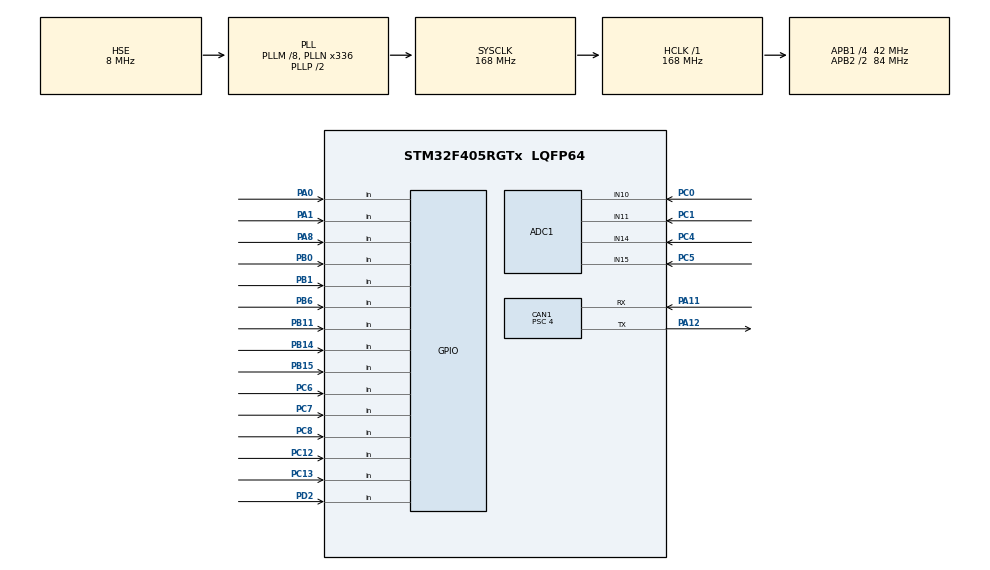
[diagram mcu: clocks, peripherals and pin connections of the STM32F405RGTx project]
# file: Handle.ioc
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ADC1.Channel-2\#ChannelRegularConversion=ADC_CHANNEL_10
ADC1.Channel-3\#ChannelRegularConversion=ADC_CHANNEL_11
ADC1.Channel-4\#ChannelRegularConversion=ADC_CHANNEL_14
ADC1.Channel-5\#ChannelRegularConversion=ADC_CHANNEL_15
ADC1.ContinuousConvMode=ENABLE
ADC1.DMAContinuousRequests=ENABLE
ADC1.DiscontinuousConvMode=DISABLE
ADC1.NbrOfConversion=4
ADC1.NbrOfConversionFlag=1
ADC1.Rank-2\#ChannelRegularConversion=1
ADC1.Rank-3\#ChannelRegularConversion=2
ADC1.Rank-4\#ChannelRegularConversion=3
ADC1.Rank-5\#ChannelRegularConversion=4
ADC1.SamplingTime-2\#ChannelRegularConversion=ADC_SAMPLETIME_3CYCLES
ADC1.SamplingTime-3\#ChannelRegularConversion=ADC_SAMPLETIME_3CYCLES
ADC1.SamplingTime-4\#ChannelRegularConversion=ADC_SAMPLETIME_3CYCLES
ADC1.SamplingTime-5\#ChannelRegularConversion=ADC_SAMPLETIME_3CYCLES
ADC1.ScanConvMode=ENABLE
ADC1.master=1
CAN1.BS1=CAN_BS1_14TQ
CAN1.BS2=CAN_BS2_6TQ
CAN1.CalculateBaudRate=500000
CAN1.CalculateTimeBit=2000
CAN1.CalculateTimeQuantum=95.23809523809524
CAN1.Prescaler=4
Dma.ADC1.0.Direction=DMA_PERIPH_TO_MEMORY
Dma.ADC1.0.FIFOMode=DMA_FIFOMODE_DISABLE
Dma.ADC1.0.Instance=DMA2_Stream0
Dma.ADC1.0.MemDataAlignment=DMA_MDATAALIGN_HALFWORD
Dma.ADC1.0.MemInc=DMA_MINC_ENABLE
Dma.ADC1.0.Mode=DMA_CIRCULAR
Dma.ADC1.0.PeriphDataAlignment=DMA_PDATAALIGN_HALFWORD
Dma.ADC1.0.PeriphInc=DMA_PINC_DISABLE
Dma.ADC1.0.Priority=DMA_PRIORITY_LOW
Dma.Request0=ADC1
Mcu.Family=STM32F4
Mcu.Name=STM32F405RGTx
Mcu.Package=LQFP64
NVIC.CAN1_RX0_IRQn=true\:0\:0\:false\:false\:true\:true\:true\:true
NVIC.DMA2_Stream0_IRQn=true\:0\:0\:false\:false\:true\:false\:true\:true
NVIC.PriorityGroup=NVIC_PRIORITYGROUP_4
PA0-WKUP.GPIO_PuPd=GPIO_PULLUP
PA0-WKUP.Signal=GPIO_Input
PA1.GPIO_PuPd=GPIO_PULLUP
PA1.Signal=GPIO_Input
PA11.GPIO_PuPd=GPIO_PULLUP
PA11.Mode=CAN_Activate
PA11.Signal=CAN1_RX
PA12.GPIO_PuPd=GPIO_PULLUP
PA12.Mode=CAN_Activate
PA12.Signal=CAN1_TX
PA13.Mode=Serial_Wire
PA13.Signal=SYS_JTMS-SWDIO
PA14.Mode=Serial_Wire
PA14.Signal=SYS_JTCK-SWCLK
PA8.GPIO_PuPd=GPIO_PULLUP
PA8.Signal=GPIO_Input
PB0.GPIO_PuPd=GPIO_PULLUP
PB0.Signal=GPIO_Input
PB1.GPIO_PuPd=GPIO_PULLUP
PB1.Signal=GPIO_Input
PB11.GPIO_PuPd=GPIO_PULLUP
PB11.Signal=GPIO_Input
PB14.GPIO_PuPd=GPIO_PULLUP
PB14.Signal=GPIO_Input
PB15.GPIO_PuPd=GPIO_PULLUP
PB15.Signal=GPIO_Input
PB6.GPIO_PuPd=GPIO_PULLUP
PB6.Signal=GPIO_Input
PC0.Signal=ADCx_IN10
PC1.Signal=ADCx_IN11
PC12.GPIO_PuPd=GPIO_PULLUP
PC12.Signal=GPIO_Input
PC13-ANTI_TAMP.GPIO_PuPd=GPIO_PULLUP
PC13-ANTI_TAMP.Signal=GPIO_Input
PC4.Signal=SharedAnalog_PC4
PC5.Signal=SharedAnalog_PC5
PC6.GPIO_PuPd=GPIO_PULLUP
PC6.Signal=GPIO_Input
PC7.GPIO_PuPd=GPIO_PULLUP
PC7.Signal=GPIO_Input
PC8.GPIO_PuPd=GPIO_PULLUP
PC8.Signal=GPIO_Input
PD2.GPIO_PuPd=GPIO_PULLUP
PD2.Signal=GPIO_Input
PH0-OSC_IN.Mode=HSE-External-Oscillator
PH0-OSC_IN.Signal=RCC_OSC_IN
PH1-OSC_OUT.Mode=HSE-External-Oscillator
PH1-OSC_OUT.Signal=RCC_OSC_OUT
ProjectManager.HeapSize=0x200
ProjectManager.StackSize=0x400
ProjectManager.TargetToolchain=MDK-ARM V5.32
RCC.48MHZClocksFreq_Value=84000000
RCC.AHBFreq_Value=168000000
RCC.APB1CLKDivider=RCC_HCLK_DIV4
RCC.APB1Freq_Value=42000000
RCC.APB1TimFreq_Value=84000000
RCC.APB2CLKDivider=RCC_HCLK_DIV2
RCC.APB2Freq_Value=84000000
RCC.APB2TimFreq_Value=168000000
RCC.CortexFreq_Value=168000000
RCC.HCLKFreq_Value=168000000
RCC.HSE_VALUE=8000000
RCC.HSI_VALUE=16000000
RCC.LSE_VALUE=32768
RCC.PLLM=8
RCC.PLLN=336
RCC.PLLSourceVirtual=RCC_PLLSOURCE_HSE
RCC.SYSCLKFreq_VALUE=168000000
RCC.SYSCLKSource=RCC_SYSCLKSOURCE_PLLCLK
RCC.VCOOutputFreq_Value=336000000
SH.ADCx_IN10.0=ADC1_IN10,IN10
SH.ADCx_IN11.0=ADC1_IN11,IN11
SH.SharedAnalog_PC4.0=GPIO_Analog
SH.SharedAnalog_PC4.1=ADC1_IN14,IN14
SH.SharedAnalog_PC5.0=GPIO_Analog
SH.SharedAnalog_PC5.1=ADC1_IN15,IN15
board=custom

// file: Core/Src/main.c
/* USER CODE BEGIN Header */
/**
  ******************************************************************************
  * @file           : main.c
  * @brief          : Main program body
  ******************************************************************************
  * @attention
  *
  * Copyright (c) 2022 STMicroelectronics.
  * All rights reserved.
  *
  * This software is licensed under terms that can be found in the LICENSE file
  * in the root directory of this software component.
  * If no LICENSE file comes with this software, it is provided AS-IS.
  *
  ******************************************************************************
  */
/* USER CODE END Header */
#include "main.h"

ADC_HandleTypeDef hadc1;
DMA_HandleTypeDef hdma_adc1;

CAN_HandleTypeDef hcan1;

/* USER CODE BEGIN PV */
// button
uint8_t botton_LU, botton_LD, botton_LL, botton_LR;
uint8_t botton_RU, botton_RD, botton_RL, botton_RR;
uint8_t botton_top_LT, botton_top_LB, botton_top_RT, botton_top_RB;
uint8_t botton_A, botton_B, botton_center;
// rocker 0-1700-3400
// rocker[0] right-Y
// rocker[1] right-X
// rocker[2] left-Y
// rocker[3] left-X
uint16_t rocker_raw[16];
uint16_t rocker[4];
/* USER CODE END PV */

void SystemClock_Config(void);
static void MX_GPIO_Init(void);
static void MX_DMA_Init(void);
static void MX_ADC1_Init(void);
static void MX_CAN1_Init(void);
/* USER CODE BEGIN PFP */
void getBottonValue(void);
void getRockerValue(void);
void sendMsg(void);
/* USER CODE END PFP */

int main(void)
{

  /* MCU Configuration--------------------------------------------------------*/

  /* Reset of all peripherals, Initializes the Flash interface and the Systick. */
  HAL_Init();

  /* Configure the system clock */
  SystemClock_Config();

  /* Initialize all configured peripherals */
  MX_GPIO_Init();
  MX_DMA_Init();
  MX_ADC1_Init();
  MX_CAN1_Init();
  /* USER CODE BEGIN 2 */
	HAL_CAN_Start(&hcan1);
  /* USER CODE END 2 */

  /* Infinite loop */
  /* USER CODE BEGIN WHILE */
  while (1)
  {
		getRockerValue();
		getBottonValue();
		sendMsg();
		HAL_Delay(50);
    /* USER CODE END WHILE */

  }
}

void SystemClock_Config(void)
{
  RCC_OscInitTypeDef RCC_OscInitStruct = {0};
  RCC_ClkInitTypeDef RCC_ClkInitStruct = {0};

  /** Configure the main internal regulator output voltage
  */
  __HAL_RCC_PWR_CLK_ENABLE();
  __HAL_PWR_VOLTAGESCALING_CONFIG(PWR_REGULATOR_VOLTAGE_SCALE1);

  /** Initializes the RCC Oscillators according to the specified parameters
  * in the RCC_OscInitTypeDef structure.
  */
  RCC_OscInitStruct.OscillatorType = RCC_OSCILLATORTYPE_HSE;
  RCC_OscInitStruct.HSEState = RCC_HSE_ON;
  RCC_OscInitStruct.PLL.PLLState = RCC_PLL_ON;
  RCC_OscInitStruct.PLL.PLLSource = RCC_PLLSOURCE_HSE;
  RCC_OscInitStruct.PLL.PLLM = 8;
  RCC_OscInitStruct.PLL.PLLN = 336;
  RCC_OscInitStruct.PLL.PLLP = RCC_PLLP_DIV2;
  RCC_OscInitStruct.PLL.PLLQ = 4;
  if (HAL_RCC_OscConfig(&RCC_OscInitStruct) != HAL_OK)
  {
    Error_Handler();
  }

  /** Initializes the CPU, AHB and APB buses clocks
  */
  RCC_ClkInitStruct.ClockType = RCC_CLOCKTYPE_HCLK|RCC_CLOCKTYPE_SYSCLK
                              |RCC_CLOCKTYPE_PCLK1|RCC_CLOCKTYPE_PCLK2;
  RCC_ClkInitStruct.SYSCLKSource = RCC_SYSCLKSOURCE_PLLCLK;
  RCC_ClkInitStruct.AHBCLKDivider = RCC_SYSCLK_DIV1;
  RCC_ClkInitStruct.APB1CLKDivider = RCC_HCLK_DIV4;
  RCC_ClkInitStruct.APB2CLKDivider = RCC_HCLK_DIV2;

  if (HAL_RCC_ClockConfig(&RCC_ClkInitStruct, FLASH_LATENCY_5) != HAL_OK)
  {
    Error_Handler();
  }
}

static void MX_ADC1_Init(void)
{

  ADC_ChannelConfTypeDef sConfig = {0};

  /** Configure the global features of the ADC (Clock, Resolution, Data Alignment and number of conversion)
  */
  hadc1.Instance = ADC1;
  hadc1.Init.ClockPrescaler = ADC_CLOCK_SYNC_PCLK_DIV4;
  hadc1.Init.Resolution = ADC_RESOLUTION_12B;
  hadc1.Init.ScanConvMode = ENABLE;
  hadc1.Init.ContinuousConvMode = ENABLE;
  hadc1.Init.DiscontinuousConvMode = DISABLE;
  hadc1.Init.ExternalTrigConvEdge = ADC_EXTERNALTRIGCONVEDGE_NONE;
  hadc1.Init.ExternalTrigConv = ADC_SOFTWARE_START;
  hadc1.Init.DataAlign = ADC_DATAALIGN_RIGHT;
  hadc1.Init.NbrOfConversion = 4;
  hadc1.Init.DMAContinuousRequests = ENABLE;
  hadc1.Init.EOCSelection = ADC_EOC_SINGLE_CONV;
  if (HAL_ADC_Init(&hadc1) != HAL_OK)
  {
    Error_Handler();
  }

  /** Configure for the selected ADC regular channel its corresponding rank in the sequencer and its sample time.
  */
  sConfig.Channel = ADC_CHANNEL_10;
  sConfig.Rank = 1;
  sConfig.SamplingTime = ADC_SAMPLETIME_3CYCLES;
  if (HAL_ADC_ConfigChannel(&hadc1, &sConfig) != HAL_OK)
  {
    Error_Handler();
  }

  /** Configure for the selected ADC regular channel its corresponding rank in the sequencer and its sample time.
  */
  sConfig.Channel = ADC_CHANNEL_11;
  sConfig.Rank = 2;
  if (HAL_ADC_ConfigChannel(&hadc1, &sConfig) != HAL_OK)
  {
    Error_Handler();
  }

  /** Configure for the selected ADC regular channel its corresponding rank in the sequencer and its sample time.
  */
  sConfig.Channel = ADC_CHANNEL_14;
  sConfig.Rank = 3;
  if (HAL_ADC_ConfigChannel(&hadc1, &sConfig) != HAL_OK)
  {
    Error_Handler();
  }

  /** Configure for the selected ADC regular channel its corresponding rank in the sequencer and its sample time.
  */
  sConfig.Channel = ADC_CHANNEL_15;
  sConfig.Rank = 4;
  if (HAL_ADC_ConfigChannel(&hadc1, &sConfig) != HAL_OK)
  {
    Error_Handler();
  }
  /* USER CODE BEGIN ADC1_Init 2 */
	HAL_ADC_Start_DMA(&hadc1, (uint32_t *)rocker_raw, 16);
  /* USER CODE END ADC1_Init 2 */

}

static void MX_CAN1_Init(void)
{

  hcan1.Instance = CAN1;
  hcan1.Init.Prescaler = 4;
  hcan1.Init.Mode = CAN_MODE_NORMAL;
  hcan1.Init.SyncJumpWidth = CAN_SJW_1TQ;
  hcan1.Init.TimeSeg1 = CAN_BS1_14TQ;
  hcan1.Init.TimeSeg2 = CAN_BS2_6TQ;
  hcan1.Init.TimeTriggeredMode = DISABLE;
  hcan1.Init.AutoBusOff = DISABLE;
  hcan1.Init.AutoWakeUp = DISABLE;
  hcan1.Init.AutoRetransmission = DISABLE;
  hcan1.Init.ReceiveFifoLocked = DISABLE;
  hcan1.Init.TransmitFifoPriority = DISABLE;
  if (HAL_CAN_Init(&hcan1) != HAL_OK)
  {
    Error_Handler();
  }

}

static void MX_DMA_Init(void)
{

  /* DMA controller clock enable */
  __HAL_RCC_DMA2_CLK_ENABLE();

  /* DMA interrupt init */
  /* DMA2_Stream0_IRQn interrupt configuration */
  HAL_NVIC_SetPriority(DMA2_Stream0_IRQn, 0, 0);
  HAL_NVIC_EnableIRQ(DMA2_Stream0_IRQn);

}

static void MX_GPIO_Init(void)
{
  GPIO_InitTypeDef GPIO_InitStruct = {0};

  /* GPIO Ports Clock Enable */
  __HAL_RCC_GPIOC_CLK_ENABLE();
  __HAL_RCC_GPIOH_CLK_ENABLE();
  __HAL_RCC_GPIOA_CLK_ENABLE();
  __HAL_RCC_GPIOB_CLK_ENABLE();
  __HAL_RCC_GPIOD_CLK_ENABLE();

  /*Configure GPIO pins : PC13 PC6 PC7 PC8
                           PC12 */
  GPIO_InitStruct.Pin = GPIO_PIN_13|GPIO_PIN_6|GPIO_PIN_7|GPIO_PIN_8
                          |GPIO_PIN_12;
  GPIO_InitStruct.Mode = GPIO_MODE_INPUT;
  GPIO_InitStruct.Pull = GPIO_PULLUP;
  HAL_GPIO_Init(GPIOC, &GPIO_InitStruct);

  /*Configure GPIO pins : PA0 PA1 PA8 */
  GPIO_InitStruct.Pin = GPIO_PIN_0|GPIO_PIN_1|GPIO_PIN_8;
  GPIO_InitStruct.Mode = GPIO_MODE_INPUT;
  GPIO_InitStruct.Pull = GPIO_PULLUP;
  HAL_GPIO_Init(GPIOA, &GPIO_InitStruct);

  /*Configure GPIO pins : PB0 PB1 PB11 PB14
                           PB15 PB6 */
  GPIO_InitStruct.Pin = GPIO_PIN_0|GPIO_PIN_1|GPIO_PIN_11|GPIO_PIN_14
                          |GPIO_PIN_15|GPIO_PIN_6;
  GPIO_InitStruct.Mode = GPIO_MODE_INPUT;
  GPIO_InitStruct.Pull = GPIO_PULLUP;
  HAL_GPIO_Init(GPIOB, &GPIO_InitStruct);

  /*Configure GPIO pin : PD2 */
  GPIO_InitStruct.Pin = GPIO_PIN_2;
  GPIO_InitStruct.Mode = GPIO_MODE_INPUT;
  GPIO_InitStruct.Pull = GPIO_PULLUP;
  HAL_GPIO_Init(GPIOD, &GPIO_InitStruct);

}

/* USER CODE BEGIN 4 */
/**
  * @brief Get Button Value Function
  * @param None
  * @retval None
  */
void getBottonValue()
{
	static uint8_t last_botton_LU = 0x01, last_botton_LD = 0x01, last_botton_LL = 0x01, last_botton_LR = 0x01;
	static uint8_t last_botton_RU = 0x01, last_botton_RD = 0x01, last_botton_RL = 0x01, last_botton_RR = 0x01;
	static uint8_t last_botton_top_LT = 0x01, last_botton_top_LB = 0x01, last_botton_top_RT = 0x01, last_botton_top_RB = 0x01;
	static uint8_t last_botton_A = 0x01, last_botton_B = 0x01, last_botton_center = 0x01;

	// botton_LU
	if (HAL_GPIO_ReadPin(GPIOB, GPIO_PIN_0) == 0x00) {
		if (last_botton_LU == 0x00) {
			botton_LU = 0x00;
		}
		last_botton_LU = 0x00;
	} else {
		botton_LU = 0x01;
		last_botton_LU = 0x01;
	}
	// botton_LD
	if (HAL_GPIO_ReadPin(GPIOB, GPIO_PIN_11) == 0x00) {
		if (last_botton_LD == 0x00) {
			botton_LD = 0x00;
		}
		last_botton_LD = 0x00;
	} else {
		botton_LD = 0x01;
		last_botton_LD = 0x01;
	}
	// botton_LL
	if (HAL_GPIO_ReadPin(GPIOB, GPIO_PIN_1) == 0x00) {
		if (last_botton_LL == 0x00) {
			botton_LL = 0x00;
		}
		last_botton_LL = 0x00;
	} else {
		botton_LL = 0x01;
		last_botton_LL = 0x01;
	}
	// botton_LR
	if (HAL_GPIO_ReadPin(GPIOB, GPIO_PIN_6) == 0x00) {
		if (last_botton_LR == 0x00) {
			botton_LR = 0x00;
		}
		last_botton_LR = 0x00;
	} else {
		botton_LR = 0x01;
		last_botton_LR = 0x01;
	}
	// botton_RU
	if (HAL_GPIO_ReadPin(GPIOC, GPIO_PIN_6) == 0x00) {
		if (last_botton_RU == 0x00) {
			botton_RU = 0x00;
		}
		last_botton_RU = 0x00;
	} else {
		botton_RU = 0x01;
		last_botton_RU = 0x01;
	}
	// botton_RD
	if (HAL_GPIO_ReadPin(GPIOD, GPIO_PIN_2) == 0x00) {
		if (last_botton_RD == 0x00) {
			botton_RD = 0x00;
		}
		last_botton_RD = 0x00;
	} else {
		botton_RD = 0x01;
		last_botton_RD = 0x01;
	}
	// botton_RL
	if (HAL_GPIO_ReadPin(GPIOC, GPIO_PIN_7) == 0x00) {
		if (last_botton_RL == 0x00) {
			botton_RL = 0x00;
		}
		last_botton_RL = 0x00;
	} else {
		botton_RL = 0x01;
		last_botton_RL = 0x01;
	}
	// botton_RR
	if (HAL_GPIO_ReadPin(GPIOC, GPIO_PIN_8) == 0x00) {
		if (last_botton_RR == 0x00) {
			botton_RR = 0x00;
		}
		last_botton_RR = 0x00;
	} else {
		botton_RR = 0x01;
		last_botton_RR = 0x01;
	}
	// botton_top_LT
	if (HAL_GPIO_ReadPin(GPIOC, GPIO_PIN_12) == 0x00) {
		if (last_botton_top_LT == 0x00) {
			botton_top_LT = 0x00;
		}
		last_botton_top_LT = 0x00;
	} else {
		botton_top_LT = 0x01;
		last_botton_top_LT = 0x01;
	}
	// botton_top_LB
	if (HAL_GPIO_ReadPin(GPIOC, GPIO_PIN_13) == 0x00) {
		if (last_botton_top_LB == 0x00) {
			botton_top_LB = 0x00;
		}
		last_botton_top_LB = 0x00;
	} else {
		botton_top_LB = 0x01;
		last_botton_top_LB = 0x01;
	}
	// botton_top_RT
	if (HAL_GPIO_ReadPin(GPIOB, GPIO_PIN_14) == 0x00) {
		if (last_botton_top_RT == 0x00) {
			botton_top_RT = 0x00;
		}
		last_botton_top_RT = 0x00;
	} else {
		botton_top_RT = 0x01;
		last_botton_top_RT = 0x01;
	}
	// botton_top_RB
	if (HAL_GPIO_ReadPin(GPIOB, GPIO_PIN_15) == 0x00) {
		if (last_botton_top_RB == 0x00) {
			botton_top_RB = 0x00;
		}
		last_botton_top_RB = 0x00;
	} else {
		botton_top_RB = 0x01;
		last_botton_top_RB = 0x01;
	}
	// botton_A
	if (HAL_GPIO_ReadPin(GPIOA, GPIO_PIN_8) == 0x00) {
		if (last_botton_A == 0x00) {
			botton_A = 0x00;
		}
		last_botton_A = 0x00;
	} else {
		botton_A = 0x01;
		last_botton_A = 0x01;
	}
	// botton_B
	if (HAL_GPIO_ReadPin(GPIOA, GPIO_PIN_1) == 0x00) {
		if (last_botton_B == 0x00) {
			botton_B = 0x00;
		}
		last_botton_B = 0x00;
	} else {
		botton_B = 0x01;
		last_botton_B = 0x01;
	}
	// botton_center
	if (HAL_GPIO_ReadPin(GPIOA, GPIO_PIN_0) == 0x00) {
		if (last_botton_center == 0x00) {
			botton_center = 0x00;
		}
		last_botton_center = 0x00;
	} else {
		botton_center = 0x01;
		last_botton_center = 0x01;
	}
}

/**
  * @brief Get Rocker Value Function
  * @param None
  * @retval None
  */
void getRockerValue()
{
	uint8_t i;
	uint32_t rocker_tmp[4];

	for (i = 0; i < 4; i++)
	{
		rocker_tmp[i] = 0;
	}
	for (i = 0; i < 4; i++)
	{
		rocker_tmp[0] += rocker_raw[i * 4 + 0];
		rocker_tmp[1] += rocker_raw[i * 4 + 1];
		rocker_tmp[2] += rocker_raw[i * 4 + 2];
		rocker_tmp[3] += rocker_raw[i * 4 + 3];
	}
	for (i = 0; i < 4; i++)
	{
		rocker[i] = rocker_tmp[i] / 4;
	}
}

/**
  * @brief Send Message
  * @param None
  * @retval None
  */
void sendMsg()
{
	CAN_TxHeaderTypeDef TxHeader;
	uint8_t TxData[8];
	uint32_t TxMailbox;

	TxHeader.RTR = CAN_RTR_DATA;
	TxHeader.IDE = CAN_ID_STD;
	TxHeader.TransmitGlobalTime = DISABLE;

	TxHeader.StdId = 0x201;
	TxHeader.DLC = 2;
	TxData[0] = botton_LU | (botton_LD << 1) | (botton_LL << 2) | (botton_LR << 3) | (botton_RU << 4) | (botton_RD << 5) | (botton_RL << 6) | (botton_RR << 7);
	TxData[1] = botton_top_LT | (botton_top_LB << 1) | (botton_top_RT << 2) | (botton_top_RB << 3) | (botton_A << 4) | (botton_B << 5) | (botton_center << 6);
	if (HAL_CAN_AddTxMessage(&hcan1, &TxHeader, TxData, &TxMailbox) != HAL_OK)
	{
		 /* Transmission request Error */
		 Error_Handler();
	}

	TxHeader.StdId = 0x202;
	TxHeader.DLC = 8;
	TxData[0] = rocker[0] >> 8;
	TxData[1] = rocker[0];
	TxData[2] = rocker[1] >> 8;
	TxData[3] = rocker[1];
	TxData[4] = rocker[2] >> 8;
	TxData[5] = rocker[2];
	TxData[6] = rocker[3] >> 8;
	TxData[7] = rocker[3];
	if (HAL_CAN_AddTxMessage(&hcan1, &TxHeader, TxData, &TxMailbox) != HAL_OK)
	{
		 /* Transmission request Error */
		 Error_Handler();
	}
}
/* USER CODE END 4 */

void Error_Handler(void)
{
  __disable_irq();
  while (1)
  {
  }
}
